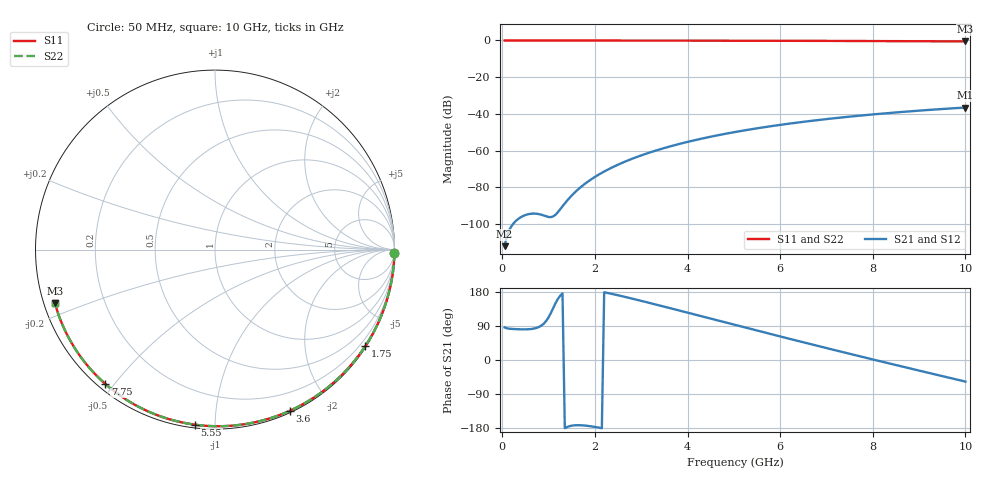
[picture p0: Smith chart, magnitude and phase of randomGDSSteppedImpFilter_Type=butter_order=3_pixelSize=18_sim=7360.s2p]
! freq	dB(S11)	phase(S11)	dB(S12)	phase(S12)
!  dB(S21)	phase(S21)	dB(S22)	phase(S22)
!S-par simulation data
#  GHz  S  DB  R 50
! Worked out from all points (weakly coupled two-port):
!   200 points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, 50 MHz to 10 GHz, reference 50 ohm
!   highest |S21| = -36.55 dB at 10 GHz (marker M1); lowest = -112.1 dB at 50 MHz (marker M2)
!   lowest |S11| = -0.5 dB at 10 GHz (marker M3), VSWR 32.61, Z = 1.57 - j8.09 ohm
!   |S11| at or under -10 dB: nowhere
!   |S22| runs from -0.5 to 0.0 dB; largest |S21 - S12| = 0
!   S11 on the Smith chart (normalised r, x): 50 MHz: open; 1.75 GHz: 0.03, -3.42; 3.6 GHz: 0.02, -1.57; 5.55 GHz: 0.02, -0.89; 7.75 GHz: 0.02, -0.48; 10 GHz: 0.03, -0.16
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0.05  -0.00 -1.0  -112.06 86.1  -112.06 86.1  -0.00 -1.0
0.45  -0.01 -8.5  -95.61 80.8  -95.61 80.8  -0.01 -8.5
0.85  -0.02 -16.0  -94.99 91.3  -94.99 91.3  -0.02 -16.0
1.65  -0.04 -30.8  -80.84 -172.1  -80.84 -172.1  -0.04 -30.8
1.7  -0.04 -31.7  -79.77 -172.2  -79.77 -172.2  -0.04 -31.7
1.75  -0.04 -32.6  -78.76 -172.6  -78.76 -172.6  -0.04 -32.6
1.9  -0.05 -35.3  -75.99 -174.7  -75.99 -174.7  -0.05 -35.3
2.05  -0.05 -38.1  -73.56 -177.7  -73.56 -177.7  -0.05 -38.1
2.25  -0.05 -41.6  -70.72 177.5  -70.72 177.5  -0.05 -41.6
2.45  -0.06 -45.2  -68.23 172.2  -68.23 172.2  -0.06 -45.2
2.9  -0.07 -53.1  -63.52 159.1  -63.52 159.1  -0.07 -53.1
3.4  -0.08 -61.7  -59.33 143.8  -59.33 143.8  -0.08 -61.7
3.6  -0.09 -65.1  -57.87 137.5  -57.87 137.5  -0.09 -65.1
4.3  -0.11 -76.7  -53.51 115.4  -53.51 115.4  -0.11 -76.7
5.05  -0.14 -88.8  -49.77 91.8  -49.77 91.8  -0.14 -88.8
5.55  -0.16 -96.5  -47.67 76.1  -47.67 76.1  -0.16 -96.5
6.1  -0.19 -104.9  -45.64 59.0  -45.64 59.0  -0.19 -104.9
6.7  -0.22 -113.9  -43.71 40.6  -43.71 40.6  -0.22 -113.9
7.75  -0.30 -129.1  -40.88 8.9  -40.88 8.9  -0.30 -129.1
8.35  -0.35 -137.8  -39.53 -8.9  -39.53 -8.9  -0.35 -137.8
9.2  -0.44 -150.0  -37.86 -33.8  -37.86 -33.8  -0.44 -150.0
10  -0.53 -161.6  -36.55 -57.0  -36.55 -57.0  -0.53 -161.6
